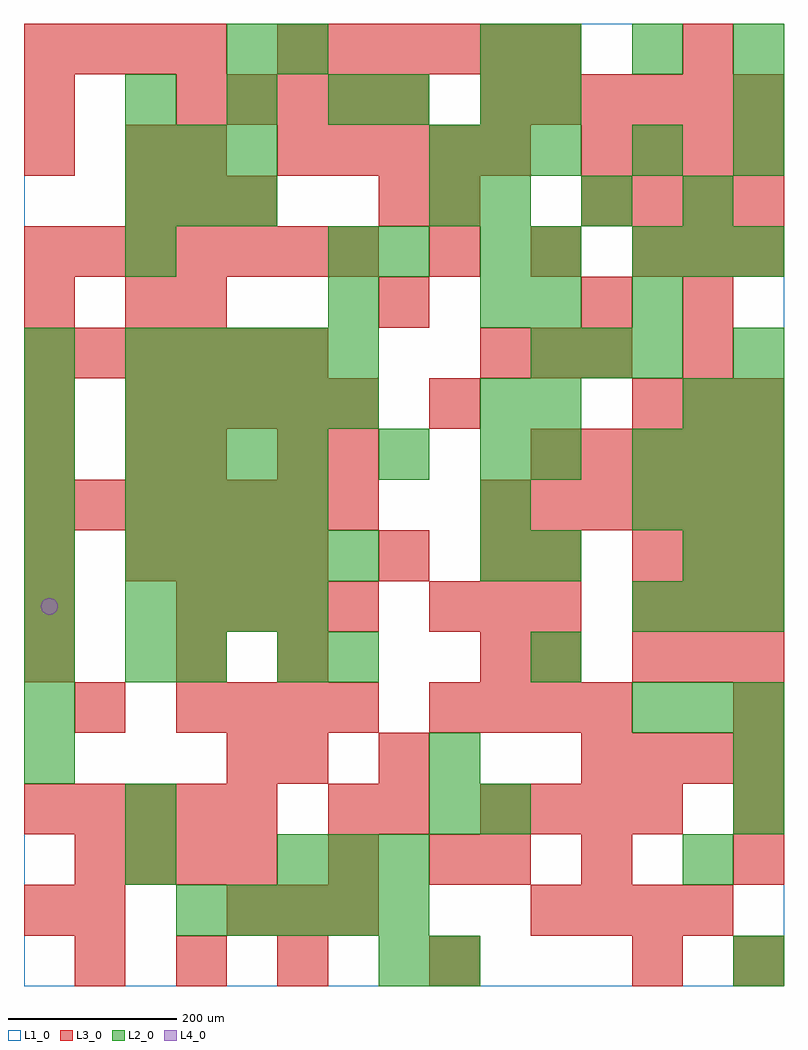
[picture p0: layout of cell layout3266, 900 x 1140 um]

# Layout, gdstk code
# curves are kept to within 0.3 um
import gdstk
lib = gdstk.Library(unit=1e-6, precision=1e-09)
def R(c, l, rs):  # rectangles x0, y0, x1, y1
    for r in rs: c.add(gdstk.rectangle(r[:2], r[2:], *l))
def A(c, l, x, y, w, h, nx, ny, dx, dy):  # array of equal rectangles
    R(c, l, [(x+i*dx, y+j*dy, x+i*dx+w, y+j*dy+h) for i in range(nx) for j in range(ny)])
def P(c, l, *ps):  # polygons
    for p in ps: c.add(gdstk.Polygon(p, *l))
L1_0 = (1, 0)
L2_0 = (2, 0)
L3_0 = (3, 0)
L4_0 = (4, 0)

layout3266 = lib.new_cell('layout3266')
R(layout3266, L1_0, [(0,0,900,1140)])
A(layout3266, L2_0, 180, 60, 60, 60, 5, 1, 60, 0)
A(layout3266, L2_0, 300, 120, 60, 60, 3, 1, 60, 0)
A(layout3266, L2_0, 0, 240, 60, 60, 1, 9, 0, 60)
A(layout3266, L2_0, 720, 300, 60, 60, 3, 3, 60, 120)
A(layout3266, L2_0, 600, 360, 60, 60, 1, 3, 0, 120)
A(layout3266, L2_0, 120, 420, 60, 60, 4, 2, 60, 120)
A(layout3266, L2_0, 120, 480, 60, 60, 5, 2, 60, 180)
A(layout3266, L2_0, 540, 480, 60, 60, 1, 4, 0, 60)
A(layout3266, L2_0, 120, 600, 60, 60, 4, 1, 60, 0)
A(layout3266, L2_0, 720, 600, 60, 60, 3, 2, 60, 240)
A(layout3266, L2_0, 120, 720, 60, 60, 5, 1, 60, 0)
A(layout3266, L2_0, 600, 720, 60, 60, 3, 1, 60, 0)
A(layout3266, L2_0, 120, 900, 60, 60, 3, 2, 60, 60)
A(layout3266, L2_0, 540, 900, 60, 60, 3, 1, 120, 0)
A(layout3266, L2_0, 480, 960, 60, 60, 3, 1, 60, 0)
A(layout3266, L2_0, 120, 1020, 60, 60, 3, 1, 120, 0)
A(layout3266, L2_0, 600, 1080, 60, 60, 3, 1, 120, 0)
R(layout3266, L2_0, [(420,0,480,60), (480,0,540,60), (840,0,900,60), (120,120,180,180), (780,120,840,180), (120,180,180,240), (480,180,540,240), (540,180,600,240), (840,180,900,240), (480,240,540,300), (840,240,900,300), (120,360,180,420), (180,360,240,420), (300,360,360,420), (360,360,420,420), (780,480,840,540), (840,480,900,540), (420,600,480,660), (600,660,660,720), (780,660,840,720), (840,660,900,720), (840,720,900,780), (360,780,420,840), (540,780,600,840), (600,780,660,840), (720,780,780,840), (120,840,180,900), (360,840,420,900), (420,840,480,900), (540,840,600,900), (600,840,660,900), (480,900,540,960), (720,960,780,1020), (840,960,900,1020), (420,1020,480,1080), (540,1020,600,1080), (600,1020,660,1080), (840,1020,900,1080), (240,1080,300,1140), (300,1080,360,1140), (540,1080,600,1140)])
A(layout3266, L3_0, 60, 0, 60, 60, 3, 1, 120, 0)
A(layout3266, L3_0, 240, 60, 60, 60, 3, 1, 60, 0)
A(layout3266, L3_0, 600, 60, 60, 60, 4, 1, 60, 0)
A(layout3266, L3_0, 60, 120, 60, 60, 4, 1, 60, 0)
A(layout3266, L3_0, 0, 180, 60, 60, 5, 1, 60, 0)
A(layout3266, L3_0, 540, 180, 60, 60, 4, 1, 60, 0)
A(layout3266, L3_0, 660, 240, 60, 60, 4, 2, 60, 660)
A(layout3266, L3_0, 180, 300, 60, 60, 4, 2, 60, 120)
A(layout3266, L3_0, 480, 300, 60, 60, 4, 1, 60, 0)
A(layout3266, L3_0, 0, 360, 60, 60, 1, 3, 0, 60)
A(layout3266, L3_0, 720, 360, 60, 60, 3, 3, 60, 60)
A(layout3266, L3_0, 480, 420, 60, 60, 3, 1, 60, 0)
A(layout3266, L3_0, 120, 480, 60, 60, 4, 1, 60, 0)
A(layout3266, L3_0, 0, 540, 60, 60, 7, 2, 60, 300)
A(layout3266, L3_0, 540, 540, 60, 60, 6, 2, 60, 480)
A(layout3266, L3_0, 120, 600, 60, 60, 1, 3, 0, 180)
A(layout3266, L3_0, 600, 600, 60, 60, 5, 1, 60, 0)
A(layout3266, L3_0, 120, 660, 60, 60, 5, 1, 60, 0)
A(layout3266, L3_0, 720, 660, 60, 60, 3, 1, 60, 0)
A(layout3266, L3_0, 0, 720, 60, 60, 6, 1, 60, 0)
A(layout3266, L3_0, 540, 720, 60, 60, 3, 1, 60, 0)
A(layout3266, L3_0, 780, 720, 60, 60, 1, 3, 0, 60)
A(layout3266, L3_0, 180, 780, 60, 60, 3, 1, 240, 0)
A(layout3266, L3_0, 480, 840, 60, 60, 3, 1, 120, 0)
A(layout3266, L3_0, 120, 900, 60, 60, 3, 1, 60, 0)
A(layout3266, L3_0, 300, 960, 60, 60, 5, 1, 60, 0)
A(layout3266, L3_0, 660, 960, 60, 60, 4, 1, 60, 0)
A(layout3266, L3_0, 180, 1020, 60, 60, 5, 1, 60, 0)
A(layout3266, L3_0, 0, 1080, 60, 60, 4, 1, 60, 0)
A(layout3266, L3_0, 300, 1080, 60, 60, 6, 1, 60, 0)
R(layout3266, L3_0, [(480,0,540,60), (720,0,780,60), (840,0,900,60), (0,60,60,120), (60,60,120,120), (360,120,420,180), (480,120,540,180), (540,120,600,180), (660,120,720,180), (840,120,900,180), (360,180,420,240), (420,180,480,240), (840,180,900,240), (240,240,300,300), (300,240,360,300), (420,240,480,300), (60,300,120,360), (840,300,900,360), (180,360,240,420), (300,360,360,420), (540,360,600,420), (600,360,660,420), (420,480,480,540), (540,480,600,540), (600,480,660,540), (0,600,60,660), (180,600,240,660), (300,600,360,660), (360,600,420,660), (0,660,60,720), (480,660,540,720), (0,780,60,840), (840,840,900,900), (420,900,480,960), (480,900,540,960), (0,960,60,1020), (180,960,240,1020), (0,1020,60,1080), (780,1080,840,1140)])
P(layout3266, L4_0, [(40,450),(39.239,453.827),(37.071,457.071),(33.827,459.239),(30,460),(26.173,459.239),(22.929,457.071),(20.761,453.827),(20,450),(20.761,446.173),(22.929,442.929),(26.173,440.761),(30,440),(33.827,440.761),(37.071,442.929),(39.239,446.173)])

lib.write_gds('layout3266.gds')
